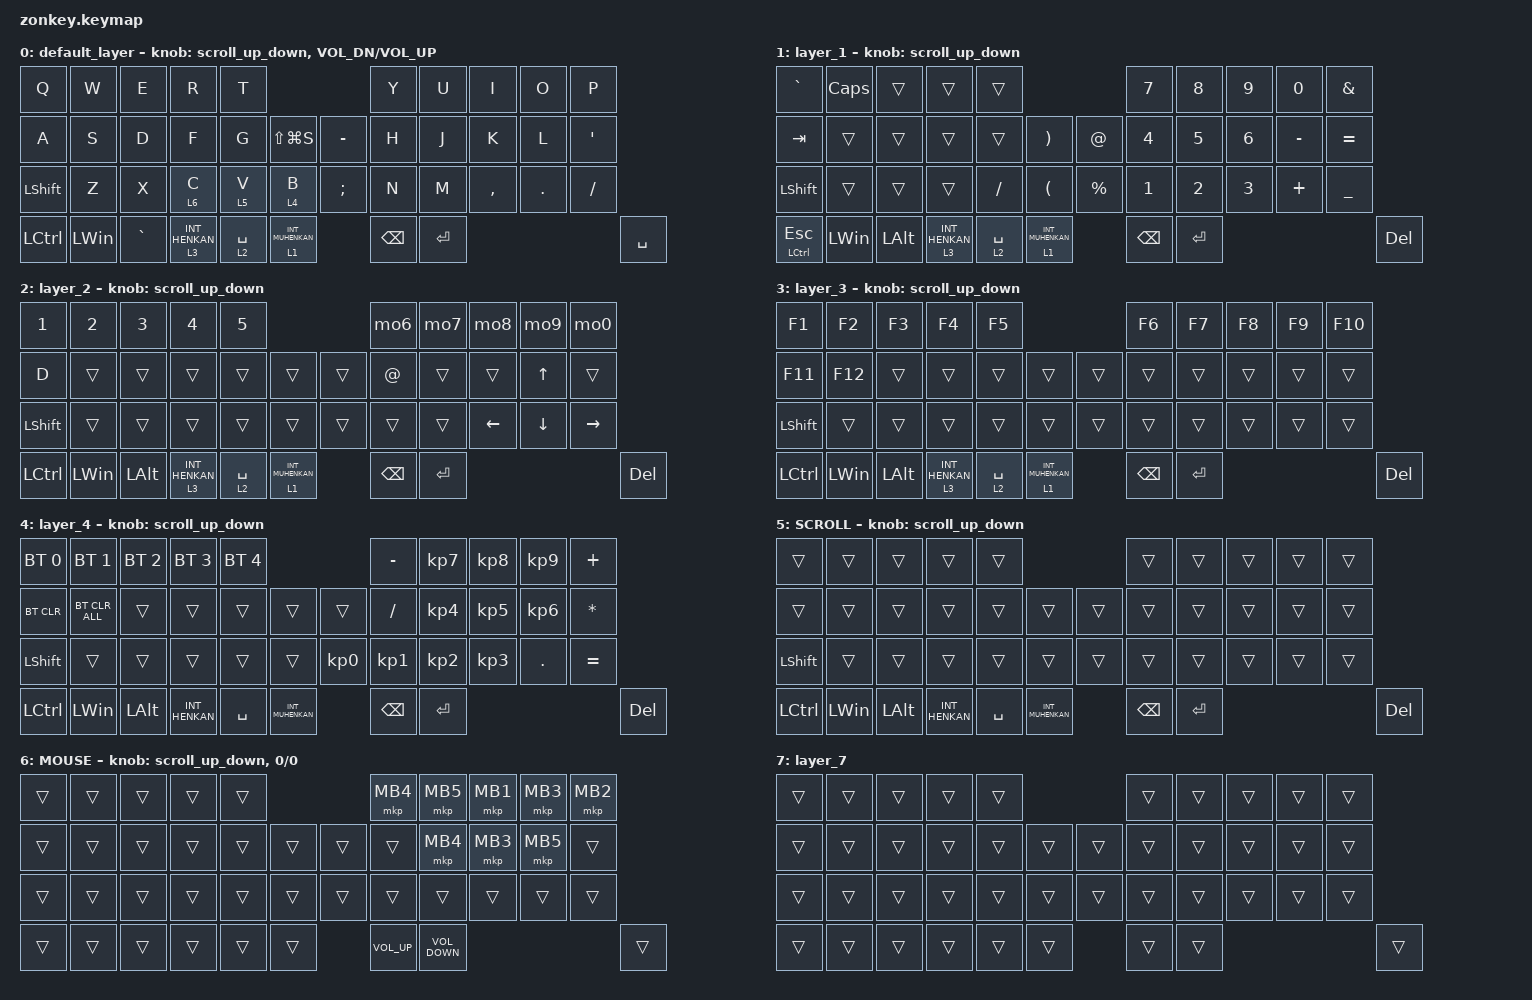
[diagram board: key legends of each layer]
#include <behaviors.dtsi>
#include <dt-bindings/zmk/bt.h>
#include <dt-bindings/zmk/keys.h>
#include <dt-bindings/zmk/pointing.h>

#define ZMK_POINTING_DEFAULT_SCRL_VAL 100
#define MOUSE 6
#define JP_DQUOTE       AT                // "
#define JP_AMPERSAND    CARET             // &
#define JP_QUOTE        AMPERSAND         // '
#define JP_EQUAL        UNDER             // =
#define JP_CARET        EQUAL             // ^
#define JP_YEN          0x89              // ¥
#define JP_PLUS         COLON             // +
#define JP_TILDE        PLUS              // ~
#define JP_PIPE         LS(0x89)          // |
#define JP_AT           LEFT_BRACKET      // @
#define JP_COLON        SINGLE_QUOTE      // :
#define JP_ASTERISK     DOUBLE_QUOTES     // *
#define JP_BACKQUOTE    LEFT_BRACE        // `
#define JP_UNDERSCORE   LS(0x87)          // _
#define JP_LBRACKET     RIGHT_BRACKET     // [
#define JP_RBRACKET     BACKSLASH         // ]
#define JP_LPAREN       ASTERISK          // (
#define JP_RPAREN       LEFT_PARENTHESIS  // )
#define JP_LBRACE       RIGHT_BRACE       // {
#define JP_RBRACE       PIPE              // }
#define JP_KANA         LANGUAGE_1        // かな
#define JP_EISU         LANGUAGE_2        // 英数
#define JP_HANZEN       GRAVE             // 半角/全角
#define JP_BSLH  INT1         // (backslash)

&mt {
    flavor = "balanced";
    quick-tap-ms = <0>;
};

/ {
    combos { compatible = "zmk,combos"; };

    mo2: mo2 {
        compatible = "zmk,behavior-mod-morph";
        #binding-cells = <0>;
        bindings = <&kp N2>, <&kp AT>;

        mods = <(MOD_LSFT|MOD_RSFT)>;
    };

    mo6: mo6 {
        compatible = "zmk,behavior-mod-morph";
        #binding-cells = <0>;
        bindings = <&kp N6>, <&kp CARET>;

        mods = <(MOD_LSFT|MOD_RSFT)>;
    };

    mo7: mo7 {
        compatible = "zmk,behavior-mod-morph";
        #binding-cells = <0>;
        bindings = <&kp N7>, <&kp AMPS>;

        mods = <(MOD_LSFT|MOD_RSFT)>;
    };

    mo8: mo8 {
        compatible = "zmk,behavior-mod-morph";
        #binding-cells = <0>;
        bindings = <&kp N8>, <&kp ASTRK>;

        mods = <(MOD_LSFT|MOD_RSFT)>;
    };

    mo9: mo9 {
        compatible = "zmk,behavior-mod-morph";
        #binding-cells = <0>;
        bindings = <&kp N9>, <&kp LPAR>;

        mods = <(MOD_LSFT|MOD_RSFT)>;
    };

    mo0: mo0 {
        compatible = "zmk,behavior-mod-morph";
        #binding-cells = <0>;
        bindings = <&kp N0>, <&kp LS(N9)>;

        mods = <(MOD_LSFT|MOD_RSFT)>;
    };

    moA: moA {
        compatible = "zmk,behavior-mod-morph";
        #binding-cells = <0>;
        bindings = <&kp MINUS>, <&kp UNDERSCORE>;

        mods = <(MOD_LSFT|MOD_RSFT)>;
    };

    moB: moB {
        compatible = "zmk,behavior-mod-morph";
        #binding-cells = <0>;
        bindings = <&kp EQUAL>, <&kp PLUS>;

        mods = <(MOD_LSFT|MOD_RSFT)>;
    };

    moC: moC {
        compatible = "zmk,behavior-mod-morph";
        #binding-cells = <0>;
        bindings = <&kp INT3>, <&kp JP_PIPE>;

        mods = <(MOD_LSFT|MOD_RSFT)>;
    };

    moD: moD {
        compatible = "zmk,behavior-mod-morph";
        #binding-cells = <0>;
        bindings = <&kp LBKT>, <&kp LBRC>;

        mods = <(MOD_LSFT|MOD_RSFT)>;
    };

    moE: moE {
        compatible = "zmk,behavior-mod-morph";
        #binding-cells = <0>;
        bindings = <&kp RBKT>, <&kp RBRC>;

        mods = <(MOD_LSFT|MOD_RSFT)>;
    };

    moF: moF {
        compatible = "zmk,behavior-mod-morph";
        #binding-cells = <0>;
        bindings = <&kp SEMI>, <&kp KP_PLUS>;

        mods = <(MOD_LSFT|MOD_RSFT)>;
    };

    moG: moG {
        compatible = "zmk,behavior-mod-morph";
        #binding-cells = <0>;
        bindings = <&kp APOSTROPHE>, <&kp DQT>;

        mods = <(MOD_LSFT|MOD_RSFT)>;
    };

    moH: moH {
        compatible = "zmk,behavior-mod-morph";
        #binding-cells = <0>;
        bindings = <&kp BACKSLASH>, <&kp TILDE2>;

        mods = <(MOD_LSFT|MOD_RSFT)>;
    };

    moI: moI {
        compatible = "zmk,behavior-mod-morph";
        #binding-cells = <0>;
        bindings = <&kp JP_BSLH>, <&kp JP_UNDERSCORE>;

        mods = <(MOD_LSFT|MOD_RSFT)>;
    };

    macros {
        to_layer_0: to_layer_0 {
            compatible = "zmk,behavior-macro-one-param";
            #binding-cells = <1>;
            bindings = <&to 0 &macro_param_1to1 &kp MACRO_PLACEHOLDER>;
            label = "TO_LAYER_0";
        };
    };

    behaviors {
        lt_to_layer_0: lt_to_layer_0 {
            compatible = "zmk,behavior-hold-tap";
            label = "LAYER_TAP_TO_0";
            bindings = <&mo>, <&to_layer_0>;

            #binding-cells = <2>;
            tapping-term-ms = <200>;
        };

        scroll_up_down: behavior_sensor_rotate_mouse_wheel_up_down {
            compatible = "zmk,behavior-sensor-rotate";
            #sensor-binding-cells = <0>;
            bindings = <&msc SCRL_DOWN>, <&msc SCRL_UP>;

            tap-ms = <20>;
        };
    };

    keymap {
        compatible = "zmk,keymap";

        default_layer {
            // -----------------------------------------------------------------------------------------
            // |  Q  |  W  |  E  |  R  |  T  |                        |  Y  |  U   |  I  |  O  |  P  | 
            // |  A  |  S  |  D  |  F  |  G  |LS(LG(S))|        　 | - |  H  |  J   |  K  |  L  |  `  | 
            // |SHIFT|  Z  |  X  |  C  |  V  |  B  |           | ; |  N  |  M   |  ,  |  .  |  /  | 
            // | CTRL | WIN | ALT |HENKAN|SPACE|MUHENKAN|       | BS | ENT |      　　　　       | DEL |           

            bindings = <
&kp Q             &kp W         &kp E      &kp R             &kp T                                             &kp Y          &kp U      &kp I      &kp O    &kp P
&kp A             &kp S         &kp D      &kp F             &kp G        &kp LS(LG(S))         &kp MINUS      &kp H          &kp J      &kp K      &kp L    &kp SQT
&kp LEFT_SHIFT    &kp Z         &kp X      &lt 6 C           &lt 5 V      &lt 4 B               &kp SEMICOLON  &kp N          &kp M      &kp COMMA  &kp DOT  &kp SLASH
&kp LEFT_CONTROL  &kp LEFT_WIN  &kp GRAVE  &lt 3 INT_HENKAN  &lt 2 SPACE  &lt 1 INT_MUHENKAN                   &kp BACKSPACE  &kp ENTER                                 &kp SPACE
            >;

            sensor-bindings =
                <&scroll_up_down>,
                <&inc_dec_kp C_VOL_DN C_VOL_UP>;
        };

        layer_1 {
            // -----------------------------------------------------------------------------------------
            // | 半角/全角 |CAPS|     |     |     |                     |     |     |  -  |  ^  |  ¥  |
            // | TAB |     |     |     |     |     |              |    |     |     |     |  @  |  [  |
            // |SHIFT|     |     |     |     |     |            | 英数 | かな |     |     |     |  ]  |
            // | CTRL| WIN | ALT |HENKAN|SPACE|MUHENKAN|         | BS | ENT |                   | DEL |

            bindings = <
&kp GRAVE       &kp CAPS      &trans        &trans            &trans                                             &kp NUMBER_7   &kp NUMBER_8  &kp NUMBER_9  &kp NUMBER_0  &kp AMPERSAND
&kp TAB         &trans        &trans        &trans            &trans       &kp RIGHT_PARENTHESIS    &kp AT_SIGN  &kp NUMBER_4   &kp NUMBER_5  &kp NUMBER_6  &kp MINUS     &kp EQUAL
&kp LEFT_SHIFT  &trans        &trans        &trans            &kp FSLH     &kp LEFT_PARENTHESIS     &kp PERCENT  &kp NUMBER_1   &kp NUMBER_2  &kp NUMBER_3  &kp PLUS      &kp UNDER
&mt LCTL ESC    &kp LEFT_WIN  &kp LEFT_ALT  &lt 3 INT_HENKAN  &lt 2 SPACE  &lt 1 INT_MUHENKAN                    &kp BACKSPACE  &kp ENTER                                                &kp DEL
            >;

            sensor-bindings = <&scroll_up_down>;
        };

        layer_2 {
            // -----------------------------------------------------------------------------------------
            // |  1  |  2  |  3  |  4  |  5  |                     |  6  |  7  |  8  |  9  |   0  |
            // |      |     |     |     |     |     |           |    |     |     |     |  ↑  |      |
            // |SHIFT|     |     |     |     |     |           |     |     |     |  ←  |  ↓  |  →  |
            // | CTRL| WIN | ALT |HENKAN|SPACE|MUHENKAN|         | BS | ENT |                   | DEL |

            bindings = <
&kp N1          &kp NUMBER_2  &kp N3        &kp N4            &kp N5                                     &mo6           &mo7       &mo8            &mo9            &mo0
&kp D           &trans        &trans        &trans            &trans       &trans                &trans  &kp AT_SIGN    &trans     &trans          &kp UP_ARROW    &trans
&kp LEFT_SHIFT  &trans        &trans        &trans            &trans       &trans                &trans  &trans         &trans     &kp LEFT_ARROW  &kp DOWN_ARROW  &kp RIGHT_ARROW
&kp LCTRL       &kp LEFT_WIN  &kp LEFT_ALT  &lt 3 INT_HENKAN  &lt 2 SPACE  &lt 1 INT_MUHENKAN            &kp BACKSPACE  &kp ENTER                                                   &kp DEL
            >;

            sensor-bindings = <&scroll_up_down>;
        };

        layer_3 {
            // -----------------------------------------------------------------------------------------
            // | F1  | F2  | F3  | F4  | F5  |                     | F6  | F7 | F8  | F9 | F10 |
            // | F11 | F12 |     |     |     |     |           |    |     |     |     |     |      |
            // |SHIFT|     |     |     |     |     |           |     |     |     |     |     |      |
            // | CTRL| WIN | ALT |HENKAN|SPACE|MUHENKAN|         | BS | ENT |                   | DEL |

            bindings = <
&kp F1          &kp F2        &kp F3        &kp F4            &kp F5                                     &kp F6         &kp F7     &kp F8  &kp F9  &kp F10
&kp F11         &kp F12       &trans        &trans            &trans       &trans                &trans  &trans         &trans     &trans  &trans  &trans
&kp LEFT_SHIFT  &trans        &trans        &trans            &trans       &trans                &trans  &trans         &trans     &trans  &trans  &trans
&kp LCTRL       &kp LEFT_WIN  &kp LEFT_ALT  &lt 3 INT_HENKAN  &lt 2 SPACE  &lt 1 INT_MUHENKAN            &kp BACKSPACE  &kp ENTER                           &kp DEL
            >;

            sensor-bindings = <&scroll_up_down>;
        };

        layer_4 {
            // -----------------------------------------------------------------------------------------
            // | BT0 | BT1 | BT2 | BT3 | BT4 |                |  -  |  7  |  8  |  9  |  +  |
            // |BTCLR |     |     |     |     |     |           |  /  |  4  |  5  |  6  |  *  | 
            // |SHIFT|     |     |     |     |     |           |  0  |  1  |  2  |   3 |  .  |  =  |
            // | CTRL| WIN | ALT |HENKAN|SPACE|MUHENKAN|        | BS | ENT |                  | DEL |

            bindings = <
&bt BT_SEL 0    &bt BT_SEL 1    &bt BT_SEL 2  &bt BT_SEL 3    &bt BT_SEL 4                                       &kp MINUS        &kp KP_NUMBER_7  &kp KP_NUMBER_8  &kp KP_NUMBER_9  &kp PLUS
&bt BT_CLR      &bt BT_CLR_ALL  &trans        &trans          &trans        &trans              &trans           &kp SLASH        &kp KP_NUMBER_4  &kp KP_NUMBER_5  &kp KP_NUMBER_6  &kp ASTERISK
&kp LEFT_SHIFT  &trans          &trans        &trans          &trans        &trans              &kp KP_NUMBER_0  &kp KP_NUMBER_1  &kp KP_NUMBER_2  &kp KP_NUMBER_3  &kp PERIOD       &kp EQUAL
&kp LCTRL       &kp LEFT_WIN    &kp LEFT_ALT  &kp INT_HENKAN  &kp SPACE     &kp INT_MUHENKAN                     &kp BACKSPACE    &kp ENTER                                                        &kp DEL
            >;

            sensor-bindings = <&scroll_up_down>;
        };

        SCROLL {
            // -----------------------------------------------------------------------------------------
            // |      |     |     |     |     |                     |     |     |     |     |      |
            // |      |     |     |     |     |     |           |    |     |     |     |     |      |
            // |SHIFT|     |     |     |     |     |          |     |     |     |     |     |      |
            // | CTRL| WIN | ALT |HENKAN|SPACE|MUHENKAN|        | BS | ENT |                  | DEL |

            bindings = <
&trans          &trans        &trans        &trans          &trans                                 &trans         &trans     &trans  &trans  &trans
&trans          &trans        &trans        &trans          &trans     &trans              &trans  &trans         &trans     &trans  &trans  &trans
&kp LEFT_SHIFT  &trans        &trans        &trans          &trans     &trans              &trans  &trans         &trans     &trans  &trans  &trans
&kp LCTRL       &kp LEFT_WIN  &kp LEFT_ALT  &kp INT_HENKAN  &kp SPACE  &kp INT_MUHENKAN            &kp BACKSPACE  &kp ENTER                          &kp DEL
            >;

            sensor-bindings = <&scroll_up_down>;
        };

        MOUSE {
            bindings = <
&trans  &trans  &trans  &trans  &trans                    &mkp MB4      &mkp MB5           &mkp MB1  &mkp MB3  &mkp MB2
&trans  &trans  &trans  &trans  &trans  &trans    &trans  &trans        &mkp MB4           &mkp MB3  &mkp MB5  &trans
&trans  &trans  &trans  &trans  &trans  &trans    &trans  &trans        &trans             &trans    &trans    &trans
&trans  &trans  &trans  &trans  &trans  &trans            &kp K_VOL_UP  &kp K_VOLUME_DOWN                                &trans
            >;

            sensor-bindings = <&scroll_up_down>, <&inc_dec_kp 0 0>;
        };

        layer_7 {
            bindings = <
&trans  &trans  &trans  &trans  &trans                    &trans  &trans  &trans  &trans  &trans
&trans  &trans  &trans  &trans  &trans  &trans    &trans  &trans  &trans  &trans  &trans  &trans
&trans  &trans  &trans  &trans  &trans  &trans    &trans  &trans  &trans  &trans  &trans  &trans
&trans  &trans  &trans  &trans  &trans  &trans            &trans  &trans                          &trans
            >;
        };
    };
};
